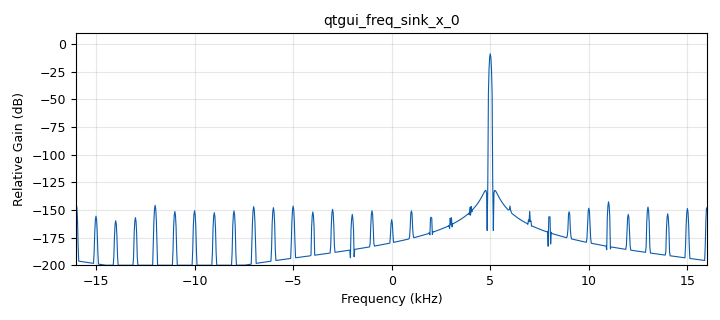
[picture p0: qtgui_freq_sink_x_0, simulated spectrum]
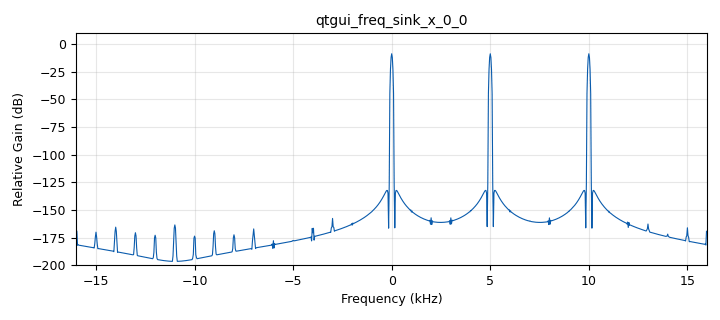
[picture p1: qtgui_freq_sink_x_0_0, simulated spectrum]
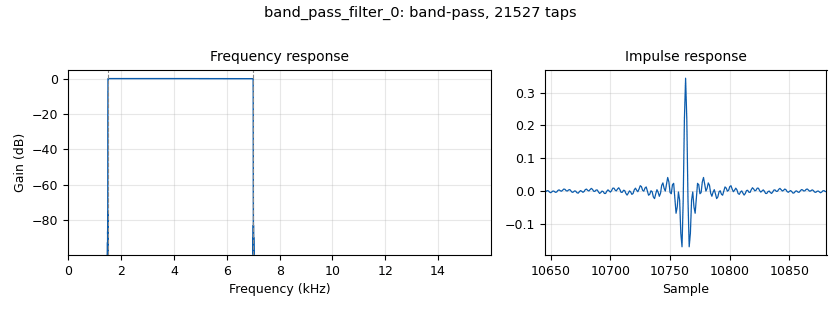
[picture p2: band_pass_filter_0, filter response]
<?xml version='1.0' encoding='utf-8'?>
<?grc format='1' created='3.7.10'?>
<flow_graph>
<block>
<key>options</key>
<param><key>id</key><value>top_block</value></param>
<param><key>generate_options</key><value>qt_gui</value></param>
</block>
<block>
<key>variable</key>
<param><key>id</key><value>samp_rate</value></param>
<param><key>value</key><value>32000</value></param>
</block>
<block>
<key>analog_sig_source_x</key>
<param><key>id</key><value>analog_sig_source_x_0</value></param>
<param><key>amp</key><value>1</value></param>
<param><key>freq</key><value>0000</value></param>
<param><key>offset</key><value>0</value></param>
<param><key>type</key><value>complex</value></param>
<param><key>samp_rate</key><value>samp_rate</value></param>
<param><key>waveform</key><value>analog.GR_COS_WAVE</value></param>
</block>
<block>
<key>analog_sig_source_x</key>
<param><key>id</key><value>analog_sig_source_x_0_0</value></param>
<param><key>amp</key><value>1</value></param>
<param><key>freq</key><value>5000</value></param>
<param><key>offset</key><value>0</value></param>
<param><key>type</key><value>complex</value></param>
<param><key>samp_rate</key><value>samp_rate</value></param>
<param><key>waveform</key><value>analog.GR_COS_WAVE</value></param>
</block>
<block>
<key>analog_sig_source_x</key>
<param><key>id</key><value>analog_sig_source_x_0_0_0</value></param>
<param><key>amp</key><value>1</value></param>
<param><key>freq</key><value>10000</value></param>
<param><key>offset</key><value>0</value></param>
<param><key>type</key><value>complex</value></param>
<param><key>samp_rate</key><value>samp_rate</value></param>
<param><key>waveform</key><value>analog.GR_COS_WAVE</value></param>
</block>
<block>
<key>band_pass_filter</key>
<param><key>id</key><value>band_pass_filter_0</value></param>
<param><key>decim</key><value>1</value></param>
<param><key>type</key><value>fir_filter_ccf</value></param>
<param><key>gain</key><value>1</value></param>
<param><key>high_cutoff_freq</key><value>7e3</value></param>
<param><key>low_cutoff_freq</key><value>1.5e3</value></param>
<param><key>samp_rate</key><value>samp_rate</value></param>
<param><key>width</key><value>5</value></param>
<param><key>win</key><value>firdes.WIN_BLACKMAN</value></param>
</block>
<block>
<key>blocks_add_xx</key>
<param><key>id</key><value>blocks_add_xx_0</value></param>
<param><key>type</key><value>complex</value></param>
<param><key>num_inputs</key><value>3</value></param>
</block>
<block>
<key>blocks_throttle</key>
<param><key>id</key><value>blocks_throttle_0</value></param>
<param><key>samples_per_second</key><value>samp_rate</value></param>
<param><key>type</key><value>complex</value></param>
</block>
<block>
<key>qtgui_freq_sink_x</key>
<param><key>id</key><value>qtgui_freq_sink_x_0</value></param>
<param><key>bw</key><value>samp_rate</value></param>
<param><key>fc</key><value>0</value></param>
<param><key>fftsize</key><value>1024</value></param>
<param><key>showports</key><value>True</value></param>
<param><key>type</key><value>complex</value></param>
<param><key>wintype</key><value>firdes.WIN_BLACKMAN_hARRIS</value></param>
<param><key>ymin</key><value>-200</value></param>
</block>
<block>
<key>qtgui_freq_sink_x</key>
<param><key>id</key><value>qtgui_freq_sink_x_0_0</value></param>
<param><key>bw</key><value>samp_rate</value></param>
<param><key>fc</key><value>0</value></param>
<param><key>fftsize</key><value>1024</value></param>
<param><key>showports</key><value>True</value></param>
<param><key>type</key><value>complex</value></param>
<param><key>wintype</key><value>firdes.WIN_BLACKMAN_hARRIS</value></param>
<param><key>ymin</key><value>-200</value></param>
</block>
<connection><source_block_id>analog_sig_source_x_0</source_block_id><sink_block_id>blocks_add_xx_0</sink_block_id><source_key>0</source_key><sink_key>0</sink_key></connection>
<connection><source_block_id>analog_sig_source_x_0_0</source_block_id><sink_block_id>blocks_add_xx_0</sink_block_id><source_key>0</source_key><sink_key>1</sink_key></connection>
<connection><source_block_id>analog_sig_source_x_0_0_0</source_block_id><sink_block_id>blocks_add_xx_0</sink_block_id><source_key>0</source_key><sink_key>2</sink_key></connection>
<connection><source_block_id>band_pass_filter_0</source_block_id><sink_block_id>qtgui_freq_sink_x_0</sink_block_id><source_key>0</source_key><sink_key>0</sink_key></connection>
<connection><source_block_id>blocks_add_xx_0</source_block_id><sink_block_id>blocks_throttle_0</sink_block_id><source_key>0</source_key><sink_key>0</sink_key></connection>
<connection><source_block_id>blocks_throttle_0</source_block_id><sink_block_id>band_pass_filter_0</sink_block_id><source_key>0</source_key><sink_key>0</sink_key></connection>
<connection><source_block_id>blocks_throttle_0</source_block_id><sink_block_id>qtgui_freq_sink_x_0_0</sink_block_id><source_key>0</source_key><sink_key>0</sink_key></connection>
</flow_graph>
